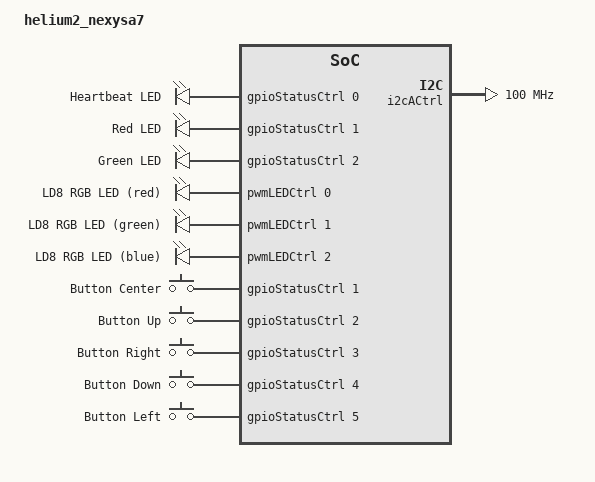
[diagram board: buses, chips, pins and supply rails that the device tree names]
/dts-v1/;
#include <helium/helium2.dtsi>
#include <zephyr/dt-bindings/pwm/pwm.h>

/ {
	model = "helium2_nexysa7";
	compatible = "elements,helium2_nexysa7";

	chosen {
		zephyr,console = &uartStdCtrl;
		zephyr,shell-uart = &uartStdCtrl;
		zephyr,sram = &ram0;
	};

	aliases {
		blue-pwm-led = &blue_pwm_led;
		green-pwm-led = &green_pwm_led;
		red-pwm-led = &red_pwm_led;
	};

	leds {
		compatible = "gpio-leds";
		heartbeat: HEARTBEAT {
			gpios = <&gpioStatusCtrl 0 GPIO_ACTIVE_HIGH>;
			label = "Heartbeat LED";
		};

		red: RED {
			gpios = <&gpioStatusCtrl 1 GPIO_ACTIVE_HIGH>;
			label = "Red LED";
		};

		green: GREEN {
			gpios = <&gpioStatusCtrl 2 GPIO_ACTIVE_HIGH>;
			label = "Green LED";
		};
	};

	pwmleds {
		compatible = "pwm-leds";
		red_pwm_led: pwm_led_0 {
			pwms = <&pwmLEDCtrl 0 PWM_MSEC(20) PWM_POLARITY_NORMAL>;
			label = "LD8 RGB LED (red)";
		};
		green_pwm_led: pwm_led_1 {
			pwms = <&pwmLEDCtrl 1 PWM_MSEC(20) PWM_POLARITY_NORMAL>;
			label = "LD8 RGB LED (green)";
		};
		blue_pwm_led: pwm_led_2 {
			pwms = <&pwmLEDCtrl 2 PWM_MSEC(20) PWM_POLARITY_NORMAL>;
			label = "LD8 RGB LED (blue)";
		};
	};

	keys {
		compatible = "gpio-keys";
		btnc: sw0 {
			gpios = <&gpioStatusCtrl 1 GPIO_ACTIVE_HIGH>;
			label = "Button Center";
		};

		btnu: sw1 {
			gpios = <&gpioStatusCtrl 2 GPIO_ACTIVE_HIGH>;
			label = "Button Up";
		};

		btnr: sw2 {
			gpios = <&gpioStatusCtrl 3 GPIO_ACTIVE_HIGH>;
			label = "Button Right";
		};

		btnb: sw3 {
			gpios = <&gpioStatusCtrl 4 GPIO_ACTIVE_HIGH>;
			label = "Button Down";
		};

		btnl: sw4 {
			gpios = <&gpioStatusCtrl 5 GPIO_ACTIVE_HIGH>;
			label = "Button Left";
		};
	};
};

&uartStdCtrl {
	clock-frequency = <100000000>;
};

&pwmLEDCtrl {
	clock-frequency = <100000000>;
};

&i2cACtrl {
	clock-frequency = <100000000>;
};
